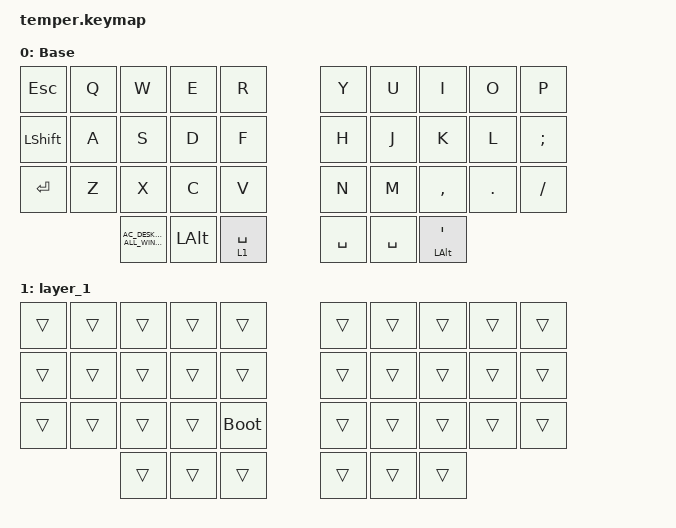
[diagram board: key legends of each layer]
/*
 * Copyright (c) 2020 duckyb
 *
 * SPDX-License-Identifier: MIT
 */

#include <dt-bindings/zmk/mouse.h>
#include <behaviors.dtsi>
#include <dt-bindings/zmk/keys.h>

#define Base 0
#define NAV_NUM 1
#define SYM 2
#define FUN 3

&sk { quick-release; };

&lt {
    flavor = "hold-preferred";
    quick-tap-ms = <180>;
};

/ {
    behaviors {
        hm: hm {
            compatible = "zmk,behavior-hold-tap";
            label = "HM";
            bindings = <&kp>, <&kp>;

            #binding-cells = <2>;
            quick-tap-ms = <170>;
            tapping-term-ms = <190>;
            global-quick-tap;
            flavor = "tap-preferred";
        };

        hml: hml {
            compatible = "zmk,behavior-hold-tap";
            label = "HML";
            bindings = <&kp>, <&kp>;

            #binding-cells = <2>;
            tapping-term-ms = <280>;
            quick-tap-ms = <175>;
            require-prior-idle-ms = <150>;
            flavor = "balanced";
            hold-trigger-on-release;
            hold-trigger-key-positions = <0 1 2 3 4 20 21 22 23 24 14 30 31 32 33 34 35 25 15 5 6 16 26 27 17 7 8 18 28 29 19 9>;
        };

        hmr: hmr {
            compatible = "zmk,behavior-hold-tap";
            label = "HMR";
            bindings = <&kp>, <&kp>;

            #binding-cells = <2>;
            tapping-term-ms = <280>;
            quick-tap-ms = <175>;
            require-prior-idle-ms = <150>;
            flavor = "balanced";
            hold-trigger-on-release;
            hold-trigger-key-positions = <0 10 20 21 1 11 12 2 3 4 24 14 13 23 22 30 31 32 33 34 35 25 26 28 27 29 9 8 7 6 5 15>;
        };

        mo_tog: mo_tog {
            compatible = "zmk,behavior-hold-tap";
            label = "MO_TOG";
            bindings = <&mo>, <&tog>;

            #binding-cells = <2>;
            tapping-term-ms = <200>;
            quick-tap-ms = <180>;
        };
    };

    combos {
        compatible = "zmk,combos";

        a {
            bindings = <&kp ENTER>;
            key-positions = <19 18>;
            timeout-ms = <30>;
        };

        b {
            bindings = <&kp TAB>;
            key-positions = <20 21>;
            timeout-ms = <30>;
        };

        c {
            bindings = <&kp BACKSPACE>;
            key-positions = <9 8>;
            timeout-ms = <30>;
        };

        d {
            bindings = <&kp ESC>;
            key-positions = <0 1>;
        };

        e {
            bindings = <&kp MINUS>;
            key-positions = <16 17>;
        };

        f {
            bindings = <&kp EQUAL>;
            key-positions = <17 18>;
        };

        g {
            bindings = <&kp CLCK>;
            key-positions = <11 10>;
        };
    };

    keymap {
        compatible = "zmk,keymap";

        base {
            label = "Base";
            display-name = "Base";
            bindings = <
  &kp ESCAPE      &kp Q  &kp W                              &kp E     &kp R          &kp Y      &kp U      &kp I             &kp O    &kp P
  &kp LEFT_SHIFT  &kp A  &kp S                              &kp D     &kp F          &kp H      &kp J      &kp K             &kp L    &kp SEMI
  &kp ENTER       &kp Z  &kp X                              &kp C     &kp V          &kp N      &kp M      &kp COMMA         &kp DOT  &kp FSLH
                         &kp C_AC_DESKTOP_SHOW_ALL_WINDOWS  &kp LALT  &lt 1 SPACE    &kp SPACE  &kp SPACE  &mt LEFT_ALT SQT
            >;
        };

        layer_1 {
            bindings = <
  &trans  &trans  &trans  &trans  &trans         &trans  &trans  &trans  &trans  &trans
  &trans  &trans  &trans  &trans  &trans         &trans  &trans  &trans  &trans  &trans
  &trans  &trans  &trans  &trans  &bootloader    &trans  &trans  &trans  &trans  &trans
                  &trans  &trans  &trans         &trans  &trans  &trans
            >;
        };
    };
};
